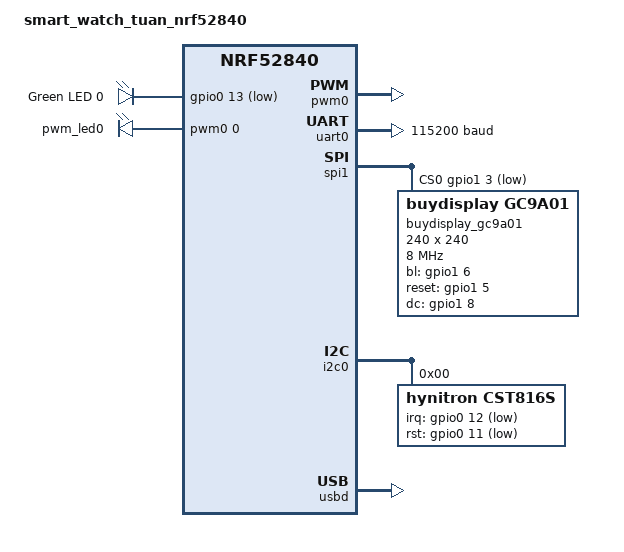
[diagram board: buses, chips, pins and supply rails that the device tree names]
/*
 * Copyright (c) 2017 Linaro Limited
 *
 * SPDX-License-Identifier: Apache-2.0
 */

/dts-v1/;
#include <nordic/nrf52840_qiaa.dtsi>
#include "smart_watch_tuan_nrf52840-pinctrl.dtsi"

/ {
	model = "smart_watch_tuan_nrf52840";
	compatible = "tuan,smart_watch_tuan_nrf52840";

	chosen {
		zephyr,console = &uart0;
		zephyr,sram = &sram0;
		zephyr,flash = &flash0;
		zephyr,display = &gc9a01;
		zephyr,code-partition = &slot0_partition;
	};

	// TODO change to watch buttons

	leds {
		compatible = "gpio-leds";
		led0: led_0 {
			gpios = <&gpio0 13 GPIO_ACTIVE_LOW>;
			label = "Green LED 0";
		};
	};

	pwmleds {
		compatible = "pwm-leds";
		pwm_led0: pwm_led_0 {
			pwms = <&pwm0 0 PWM_MSEC(20) 0>;
		};
	};

	/* These aliases are provided for compatibility with samples */
	aliases {
		led0 = &led0;
		pwm-led0 = &pwm_led0;
	};
};

&gpio0 {
	status = "okay";
};

&gpio1 {
	status = "okay";
};

&pwm0 {
	status = "okay";
	pinctrl-0 = <&pwm0_default>;
	pinctrl-1 = <&pwm0_sleep>;
	pinctrl-names = "default", "sleep";
};

&uart0 {
	compatible = "nordic,nrf-uarte";
	status = "okay";
	current-speed = <115200>;
	pinctrl-0 = <&uart0_default>;
	pinctrl-1 = <&uart0_sleep>;
	pinctrl-names = "default", "sleep";
};

&spi1 {
	status = "okay";
	compatible = "nordic,nrf-spi";
	pinctrl-0 = <&spi1_default>;
	pinctrl-1 = <&spi1_sleep>;
	pinctrl-names = "default", "sleep";
	cs-gpios = <&gpio1 3 GPIO_ACTIVE_LOW>;

	gc9a01: gc9a01@0 {
		compatible = "buydisplay,gc9a01";
		status = "okay";
		spi-max-frequency = <8000000>;
		reg = <0>;
		width = <240>;
		label = "buydisplay_gc9a01";
		height = <240>;
		bl-gpios = <&gpio1 6 GPIO_ACTIVE_HIGH>;
		reset-gpios = <&gpio1 5 GPIO_ACTIVE_HIGH>;
		dc-gpios = <&gpio1 8 GPIO_ACTIVE_HIGH>;
	};

};

&i2c0 {
	status = "okay";
	compatible = "nordic,nrf-twi";
	pinctrl-0 = <&i2c0_default>;
	pinctrl-1 = <&i2c0_sleep>;
	pinctrl-names = "default", "sleep";
	cst816s@0 {
		compatible = "hynitron,cst816s";
		reg = <0x0 >;
		irq-gpios = <&gpio0 12 GPIO_ACTIVE_LOW>;
		rst-gpios = <&gpio0 11 GPIO_ACTIVE_LOW>;
	};
};


&flash0 {

	partitions {
		compatible = "fixed-partitions";
		#address-cells = <1>;
		#size-cells = <1>;

		boot_partition: partition@0 {
			label = "mcuboot";
			reg = <0x00000000 0x0000C000>;
		};
		slot0_partition: partition@c000 {
			label = "image-0";
			reg = <0x0000C000 0x00067000>;
		};
		slot1_partition: partition@73000 {
			label = "image-1";
			reg = <0x00073000 0x00067000>;
		};
		scratch_partition: partition@da000 {
			label = "image-scratch";
			reg = <0x000da000 0x0001e000>;
		};

		/*
		 * The flash starting at 0x000f8000 and ending at
		 * 0x000fffff is reserved for use by the application.
		 */

		/*
		 * Storage partition will be used by FCB/LittleFS/NVS
		 * if enabled.
		 */
		storage_partition: partition@f8000 {
			label = "storage";
			reg = <0x000f8000 0x00008000>;
		};
	};
};

zephyr_udc0: &usbd {
	compatible = "nordic,nrf-usbd";
	status = "okay";
};
